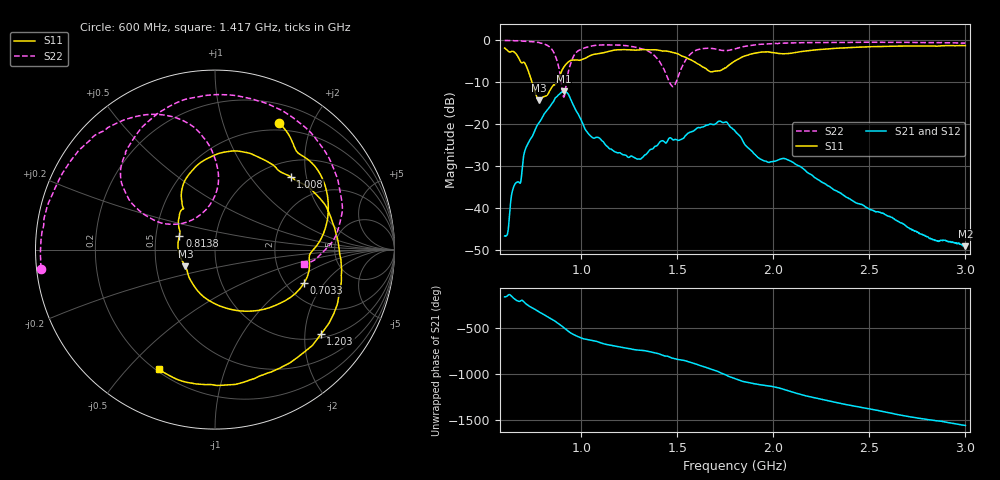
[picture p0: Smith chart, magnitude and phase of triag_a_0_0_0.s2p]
#  HZ  S  RI  R  50.00
! Rohde & Schwarz ZVB8 2Ports - Version 2.81 - 1145.1010k08 SN: 100113
! Date: 2016-05-03 01:37:07
! Measurements: S11 S21 S12 S22
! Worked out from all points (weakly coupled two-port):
!   1000 points, 600 MHz to 3 GHz, reference 50 ohm
!   highest |S21| = -12.34 dB at 907.5 MHz (marker M1); lowest = -49.2 dB at 3 GHz (marker M2)
!   lowest |S11| = -14.4 dB at 777.8 MHz (marker M3), VSWR 1.47, Z = 35.3 - j6.83 ohm
!   |S11| at or under -10 dB: 741.8 MHz to 873 MHz (131.1 MHz wide, 16.2 % of centre)
!   |S22| runs from -13.7 to -0.2 dB; largest |S21 - S12| = 0.0016
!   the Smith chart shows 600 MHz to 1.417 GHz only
!   S11 on the Smith chart (normalised r, x): 600 MHz: 0.41, +1.55; 703.3 MHz: 2.50, -1.29; 813.8 MHz: 0.66, +0.11; 1.008 GHz: 1.32, +1.62; 1.203 GHz: 1.10, -2.41; 1.417 GHz: 0.21, -0.62
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6e8  0.3566 0.7081  -0.00438 -0.00139  -0.00442 -0.00137  -0.9691 -0.1058
7.033033e8  0.4968 -0.1856  -0.0337 0.0308  -0.0332 0.0313  -0.8882 0.3488
7.777778e8  -0.165 -0.0934  0.0814 0.0603  0.0813 0.0613  -0.6655 0.6395
8.138138e8  -0.198 0.0763  0.1363 -0.0156  0.1363 -0.0152  -0.4678 0.7342
8.762763e8  -0.1847 0.2689  0.0142 -0.214  0.0148 -0.2136  -0.00696 0.5257
9.075075e8  -0.1179 0.4507  -0.1691 -0.1726  -0.168 -0.1731  -0.0983 0.1821
9.531532e8  0.1932 0.5367  -0.1595 0.0717  -0.1597 0.071  -0.4981 0.3164
1.001201e9  0.3933 0.4201  -0.0379 0.1004  -0.0384 0.1  -0.4501 0.6233
1.008408e9  0.4209 0.4056  -0.0256 0.0948  -0.0259 0.0945  -0.429 0.6531
1.203003e9  0.5896 -0.4724  0.0435 0.0101  0.0433 0.0104  0.4031 0.7563
1.4e9  -0.2515 -0.7033  0.031 -0.0477  0.0311 -0.0476  0.5759 -0.0391
1.416817e9  -0.3113 -0.6663  0.0219 -0.0582  0.022 -0.0583  0.4933 -0.0806
1.476877e9  -0.5004 -0.4901  -0.0191 -0.0612  -0.0188 -0.0612  0.2704 0.0506
1.546547e9  -0.5604 -0.2363  -0.0543 -0.0496  -0.0539 -0.0496  0.5377 0.2367
1.625826e9  -0.4793 -0.0491  -0.089 0.0172  -0.0889 0.0168  0.7718 -0.111
1.801201e9  -0.5587 0.0147  0.0696 0.041  0.0692 0.0413  0.515 -0.5788
1.928529e9  -0.5555 0.4344  0.0322 -0.0207  0.0324 -0.0204  0.2043 -0.8522
2.2e9  0.237 0.7078  -0.024 -0.00472  -0.0239 -0.00479  -0.5796 -0.7144
2.413814e9  0.799 0.1192  -0.00156 0.0119  -0.00168 0.0119  -0.8864 -0.266
2.601201e9  0.5636 -0.6094  0.00722 0.00313  0.00719 0.00319  -0.9107 0.1665
2.786186e9  -0.112 -0.8313  0.00333 -0.00329  0.0033 -0.00324  -0.7315 0.5557
3e9  -0.7302 -0.4269  -0.00145 -0.00316  -0.00143 -0.00326  -0.3259 0.8457
